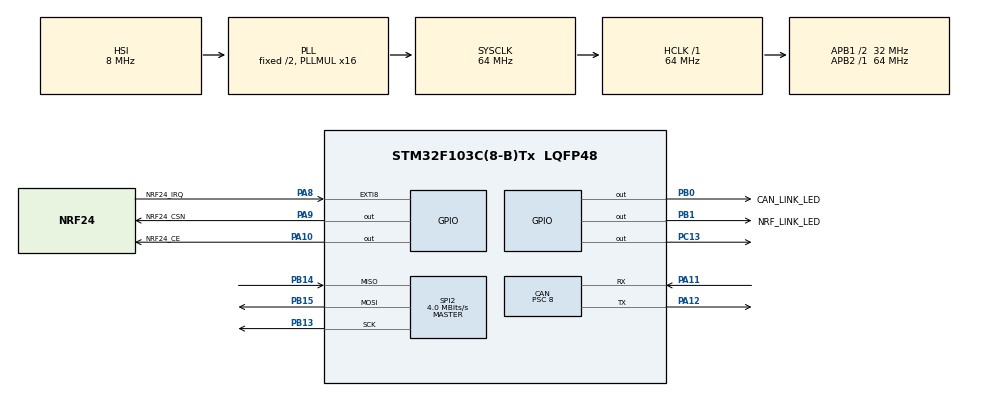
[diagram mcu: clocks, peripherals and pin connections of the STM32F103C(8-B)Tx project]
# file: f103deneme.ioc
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CAN.BS1=CAN_BS1_5TQ
CAN.BS2=CAN_BS2_2TQ
CAN.CalculateBaudRate=500000
CAN.CalculateTimeBit=2000
CAN.CalculateTimeQuantum=250.0
CAN.ABOM=ENABLE
CAN.NART=DISABLE
CAN.Prescaler=8
Mcu.Family=STM32F1
Mcu.Name=STM32F103C(8-B)Tx
Mcu.Package=LQFP48
NVIC.EXTI9_5_IRQn=true\:2\:0\:false\:false\:true\:true\:true\:true\:true
NVIC.PriorityGroup=NVIC_PRIORITYGROUP_4
PA8.GPIO_Label=NRF24_IRQ
PA8.GPIO_PuPd=GPIO_PULLUP
PA8.Signal=GPXTI8
PA9.GPIO_Label=NRF24_CSN
PA9.GPIO_Speed=GPIO_SPEED_FREQ_HIGH
PA9.PinState=GPIO_PIN_SET
PA9.Signal=GPIO_Output
PA10.GPIO_Label=NRF24_CE
PA10.GPIO_Speed=GPIO_SPEED_FREQ_HIGH
PA10.PinState=GPIO_PIN_RESET
PA10.Signal=GPIO_Output
PA11.Mode=CAN_Activate
PA11.Signal=CAN_RX
PA12.Mode=CAN_Activate
PA12.Signal=CAN_TX
PA13.Mode=Serial_Wire
PA13.Signal=SYS_JTMS-SWDIO
PA14.Mode=Serial_Wire
PA14.Signal=SYS_JTCK-SWCLK
PB0.GPIO_Label=CAN_LINK_LED
PB0.GPIO_Speed=GPIO_SPEED_FREQ_LOW
PB0.PinState=GPIO_PIN_SET
PB0.Signal=GPIO_Output
PB1.GPIO_Label=NRF_LINK_LED
PB1.GPIO_Speed=GPIO_SPEED_FREQ_LOW
PB1.Signal=GPIO_Output
PB13.Mode=Full_Duplex_Master
PB13.Signal=SPI2_SCK
PB14.Mode=Full_Duplex_Master
PB14.Signal=SPI2_MISO
PB15.Mode=Full_Duplex_Master
PB15.Signal=SPI2_MOSI
PC13-TAMPER-RTC.GPIO_Speed=GPIO_SPEED_FREQ_LOW
PC13-TAMPER-RTC.PinState=GPIO_PIN_SET
PC13-TAMPER-RTC.Signal=GPIO_Output
ProjectManager.HeapSize=0x200
ProjectManager.StackSize=0x400
ProjectManager.TargetToolchain=STM32CubeIDE
RCC.AHBFreq_Value=64000000
RCC.APB1CLKDivider=RCC_HCLK_DIV2
RCC.APB1Freq_Value=32000000
RCC.APB1TimFreq_Value=64000000
RCC.APB2Freq_Value=64000000
RCC.APB2TimFreq_Value=64000000
RCC.HCLKFreq_Value=64000000
RCC.PLLMUL=RCC_PLL_MUL16
RCC.SYSCLKFreq_VALUE=64000000
RCC.SYSCLKSource=RCC_SYSCLKSOURCE_PLLCLK
RCC.USBFreq_Value=64000000
SPI2.BaudRatePrescaler=SPI_BAUDRATEPRESCALER_8
SPI2.CalculateBaudRate=4.0 MBits/s
SPI2.Direction=SPI_DIRECTION_2LINES
SPI2.Mode=SPI_MODE_MASTER
SPI2.VirtualType=VM_MASTER
board=custom
NVIC.USB_LP_CAN1_RX0_IRQn=true\:1\:0\:false\:false\:true\:true\:true\:true\:true
NVIC.CAN1_SCE_IRQn=true\:1\:0\:false\:false\:true\:true\:true\:true\:true

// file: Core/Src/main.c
/* USER CODE BEGIN Header */
/**
  ******************************************************************************
  * @file           : main.c
  * @brief          : Main program body
  ******************************************************************************
  * @attention
  *
  * Copyright (c) 2026 STMicroelectronics.
  * All rights reserved.
  *
  * This software is licensed under terms that can be found in the LICENSE file
  * in the root directory of this software component.
  * If no LICENSE file comes with this software, it is provided AS-IS.
  *
  ******************************************************************************
  */
/* USER CODE END Header */
#include "main.h"

/* USER CODE BEGIN Includes */
#include "nrf24l01.h"
#include <string.h>

/* USER CODE END Includes */

/* USER CODE BEGIN PM */

#define COMMUNICATION_RX_TIMEOUT_MS 750
#define COMMUNICATION_RECOVERY_PERIOD_MS 1000
#define CAN1_RUNTIME_NOTIFICATIONS (CAN_IT_RX_FIFO0_MSG_PENDING | \
        CAN_IT_RX_FIFO0_FULL | CAN_IT_RX_FIFO0_OVERRUN | \
        CAN_IT_ERROR_WARNING | CAN_IT_ERROR_PASSIVE | CAN_IT_BUSOFF | \
        CAN_IT_LAST_ERROR_CODE | CAN_IT_ERROR)

/* USER CODE END PM */

CAN_HandleTypeDef hcan;
SPI_HandleTypeDef hspi2;

/* USER CODE BEGIN PV */
CAN_TxHeaderTypeDef TxHeader;
uint32_t TxMailbox;
volatile CAN_RxHeaderTypeDef g_can1_rx_header;
volatile uint8_t g_can1_rx_data[8];
volatile uint32_t g_can1_rx_count;
volatile uint32_t g_can1_rx_fifo_overrun_count;
volatile uint32_t g_can1_tx_ok_count;
volatile uint32_t g_can1_tx_error_count;
volatile HAL_StatusTypeDef g_can1_last_tx_status;
volatile uint32_t g_can1_led_toggle_count;
volatile uint8_t g_f103_nrf_rx_data[NRF24L01_MAX_PAYLOAD_SIZE];
volatile uint8_t g_f103_nrf_rx_length;
volatile uint32_t g_f103_nrf_rx_count;
volatile uint32_t g_f103_nrf_tx_count;
volatile uint32_t g_f103_nrf_tx_error_count;
volatile bool g_f103_nrf_initialized;
volatile uint32_t g_f103_can_rx_last_tick;
volatile uint32_t g_f103_nrf_rx_last_tick;
volatile uint32_t g_f103_can_recovery_attempt_count;
volatile uint32_t g_f103_can_recovery_success_count;
volatile uint32_t g_f103_can_recovery_failure_count;
volatile uint32_t g_f103_can_error_irq_count;
volatile uint32_t g_f103_can_last_error_code;
volatile uint32_t g_f103_can_last_esr;
volatile uint32_t g_f103_can_last_msr;
volatile bool g_f103_can_recovery_requested;
volatile bool g_f103_can_rx_timeout;
volatile bool g_f103_nrf_rx_timeout;
volatile uint8_t g_can1_response_pending;
/* USER CODE END PV */

void SystemClock_Config(void);
static void MX_GPIO_Init(void);
static void MX_CAN_Init(void);
static void MX_SPI2_Init(void);
/* USER CODE BEGIN PFP */
static HAL_StatusTypeDef CAN1_StartRuntime(void);
static bool CAN1_RecoverRuntime(void);
/* USER CODE END PFP */

/* USER CODE BEGIN 0 */

static HAL_StatusTypeDef CAN1_StartRuntime(void)
{
  CAN_FilterTypeDef can_filter = {0};
  can_filter.FilterBank = 0;
  can_filter.FilterMode = CAN_FILTERMODE_IDMASK;
  can_filter.FilterScale = CAN_FILTERSCALE_32BIT;
  can_filter.FilterIdHigh = 0;
  can_filter.FilterIdLow = 0;
  can_filter.FilterMaskIdHigh = 0;
  can_filter.FilterMaskIdLow = 0;
  can_filter.FilterFIFOAssignment = CAN_RX_FIFO0;
  can_filter.FilterActivation = ENABLE;
  can_filter.SlaveStartFilterBank = 14;

  if(HAL_CAN_ConfigFilter(&hcan, &can_filter) != HAL_OK) return HAL_ERROR;
  if(HAL_CAN_Start(&hcan) != HAL_OK) return HAL_ERROR;
  if(HAL_CAN_ActivateNotification(&hcan, CAN1_RUNTIME_NOTIFICATIONS) !=
          HAL_OK){
    (void)HAL_CAN_Stop(&hcan);
    return HAL_ERROR;
  }

  HAL_NVIC_SetPriority(USB_LP_CAN1_RX0_IRQn, 1, 0);
  HAL_NVIC_EnableIRQ(USB_LP_CAN1_RX0_IRQn);
  HAL_NVIC_SetPriority(CAN1_SCE_IRQn, 1, 0);
  HAL_NVIC_EnableIRQ(CAN1_SCE_IRQn);
  return HAL_OK;
}

static bool CAN1_RecoverRuntime(void)
{
  /* HAL state ERROR veya controller bus-off iken Stop/Start yeterli degildir.
   * DeInit handle'i RESET durumuna, RCC reset ise mailbox ve hata mantigini
   * donanimsal baslangic durumuna getirir. */
  (void)HAL_CAN_DeactivateNotification(&hcan, CAN1_RUNTIME_NOTIFICATIONS);
  (void)HAL_CAN_AbortTxRequest(&hcan,
          CAN_TX_MAILBOX0 | CAN_TX_MAILBOX1 | CAN_TX_MAILBOX2);
  (void)HAL_CAN_DeInit(&hcan);
  __HAL_RCC_CAN1_FORCE_RESET();
  __HAL_RCC_CAN1_RELEASE_RESET();
  HAL_Delay(2);

  if(HAL_CAN_Init(&hcan) != HAL_OK) return false;
  if(CAN1_StartRuntime() != HAL_OK) return false;

  g_can1_response_pending = 0;
  g_f103_can_recovery_requested = false;
  return true;
}

/* USER CODE END 0 */

int main(void)
{

  /* MCU Configuration--------------------------------------------------------*/

  /* Reset of all peripherals, Initializes the Flash interface and the Systick. */
  HAL_Init();

  /* Configure the system clock */
  SystemClock_Config();

  /* Initialize all configured peripherals */
  MX_GPIO_Init();
  MX_CAN_Init();
  MX_SPI2_Init();
  /* USER CODE BEGIN 2 */
  if (CAN1_StartRuntime() != HAL_OK)
  {
    Error_Handler();
  }

  TxHeader.StdId = 0x103; // Mesajımızın ID'si (F407 bu ID'yi okuyacak)
  TxHeader.ExtId = 0x01;  // Kullanmıyoruz ama sıfırlayalım
  TxHeader.IDE = CAN_ID_STD; // Standart ID kullanıyoruz (11-bit)
  TxHeader.RTR = CAN_RTR_DATA; // Remote frame değil, Data frame (Veri) gönderiyoruz
  TxHeader.TransmitGlobalTime = DISABLE;

  nrf24l01_config_t nrf_config = {
    .spi = &hspi2,
    .csn_port = NRF24_CSN_GPIO_Port,
    .csn_pin = NRF24_CSN_Pin,
    .ce_port = NRF24_CE_GPIO_Port,
    .ce_pin = NRF24_CE_Pin
  };
  g_f103_nrf_initialized = nrf24l01_init(&nrf_config);
  uint32_t communication_start_tick = HAL_GetTick();
  uint32_t last_can_recovery_tick = 0;
  uint32_t last_nrf_recovery_tick = 0;
  /* USER CODE END 2 */

  /* Infinite loop */
  while (1)
  {

    /* USER CODE BEGIN 3 */
      uint32_t now = HAL_GetTick();
      uint8_t can_response = g_can1_response_pending;
      if(can_response != 0){
        static const uint8_t high_message[] = "HIGH";
        static const uint8_t low_message[] = "LOW";
        const uint8_t* response;
        uint8_t response_length;
        g_can1_response_pending = 0;
        if(can_response == 1){
          response = low_message;
          response_length = sizeof(low_message) - 1;
        }
        else{
          response = high_message;
          response_length = sizeof(high_message) - 1;
        }
        TxHeader.StdId = 0x103;
        TxHeader.DLC = response_length;
        g_can1_last_tx_status = HAL_CAN_AddTxMessage(&hcan, &TxHeader,
                (uint8_t*)response, &TxMailbox);
        if(g_can1_last_tx_status == HAL_OK) g_can1_tx_ok_count++;
        else g_can1_tx_error_count++;
      }

      uint8_t nrf_response = 0;
      if(g_f103_nrf_initialized){
        /* IRQ falling-edge kacirilsa bile pin low kaldigi surece FIFO okunur. */
        if(g_nrf24l01_debug.irq_pending ||
                HAL_GPIO_ReadPin(NRF24_IRQ_GPIO_Port,
                        NRF24_IRQ_Pin) == GPIO_PIN_RESET){
          for(;;){
            uint8_t received[NRF24L01_MAX_PAYLOAD_SIZE] = {0};
            uint8_t received_length = 0;
            nrf24l01_status_t receive_status = nrf24l01_receive(received,
                    &received_length);
            if(receive_status != NRF24L01_OK) break;
            memcpy((void*)g_f103_nrf_rx_data, received, received_length);
            g_f103_nrf_rx_length = received_length;
            g_f103_nrf_rx_count++;
            if(received_length == 4 && memcmp(received, "HIGH", 4) == 0){
              HAL_GPIO_WritePin(NRF_LINK_LED_GPIO_Port, NRF_LINK_LED_Pin,
                      GPIO_PIN_SET);
              g_f103_nrf_rx_last_tick = HAL_GetTick();
              g_f103_nrf_rx_timeout = false;
              nrf_response = 1;
            }
            else if(received_length == 3 && memcmp(received, "LOW", 3) == 0){
              HAL_GPIO_WritePin(NRF_LINK_LED_GPIO_Port, NRF_LINK_LED_Pin,
                      GPIO_PIN_RESET);
              g_f103_nrf_rx_last_tick = HAL_GetTick();
              g_f103_nrf_rx_timeout = false;
              nrf_response = 2;
            }
          }
        }

        if(nrf_response != 0){
          static const uint8_t high_message[] = "HIGH";
          static const uint8_t low_message[] = "LOW";
          const uint8_t* response;
          uint8_t response_length;
          if(nrf_response == 1){
            response = low_message;
            response_length = sizeof(low_message) - 1;
          }
          else{
            response = high_message;
            response_length = sizeof(high_message) - 1;
          }
          /* F407'nin TX_DS interruptini isleyip tekrar RX moduna gecmesi icin
             kisa bir donus suresi birakilir. */
          HAL_Delay(5);
          nrf24l01_status_t send_status = nrf24l01_send(response,
                  response_length, 150);
          if(send_status == NRF24L01_OK) g_f103_nrf_tx_count++;
          else g_f103_nrf_tx_error_count++;
        }
      }

      uint32_t can_reference_tick = g_f103_can_rx_last_tick;
      if(can_reference_tick == 0) can_reference_tick = communication_start_tick;
      g_f103_can_rx_timeout = (now - can_reference_tick) >=
              COMMUNICATION_RX_TIMEOUT_MS;

      uint32_t nrf_reference_tick = g_f103_nrf_rx_last_tick;
      if(nrf_reference_tick == 0) nrf_reference_tick = communication_start_tick;
      g_f103_nrf_rx_timeout = (now - nrf_reference_tick) >=
              COMMUNICATION_RX_TIMEOUT_MS;

      if((g_f103_can_rx_timeout || g_f103_can_recovery_requested) &&
         (now - last_can_recovery_tick) >= COMMUNICATION_RECOVERY_PERIOD_MS){
        last_can_recovery_tick = now;
        g_f103_can_recovery_attempt_count++;
        if(CAN1_RecoverRuntime()){
          g_f103_can_recovery_success_count++;
        }else{
          g_f103_can_recovery_failure_count++;
        }
      }

      if(g_f103_nrf_rx_timeout &&
         (now - last_nrf_recovery_tick) >= COMMUNICATION_RECOVERY_PERIOD_MS){
        last_nrf_recovery_tick = now;
        g_f103_nrf_initialized = nrf24l01_init(&nrf_config);
      }

      HAL_Delay(2);
  }
  /* USER CODE END 3 */
}

void SystemClock_Config(void)
{
  RCC_OscInitTypeDef RCC_OscInitStruct = {0};
  RCC_ClkInitTypeDef RCC_ClkInitStruct = {0};

  /** Initializes the RCC Oscillators according to the specified parameters
  * in the RCC_OscInitTypeDef structure.
  */
  RCC_OscInitStruct.OscillatorType = RCC_OSCILLATORTYPE_HSI;
  RCC_OscInitStruct.HSIState = RCC_HSI_ON;
  RCC_OscInitStruct.HSICalibrationValue = RCC_HSICALIBRATION_DEFAULT;
  RCC_OscInitStruct.PLL.PLLState = RCC_PLL_ON;
  RCC_OscInitStruct.PLL.PLLSource = RCC_PLLSOURCE_HSI_DIV2;
  RCC_OscInitStruct.PLL.PLLMUL = RCC_PLL_MUL16;
  if (HAL_RCC_OscConfig(&RCC_OscInitStruct) != HAL_OK)
  {
    Error_Handler();
  }

  /** Initializes the CPU, AHB and APB buses clocks
  */
  RCC_ClkInitStruct.ClockType = RCC_CLOCKTYPE_HCLK|RCC_CLOCKTYPE_SYSCLK
                              |RCC_CLOCKTYPE_PCLK1|RCC_CLOCKTYPE_PCLK2;
  RCC_ClkInitStruct.SYSCLKSource = RCC_SYSCLKSOURCE_PLLCLK;
  RCC_ClkInitStruct.AHBCLKDivider = RCC_SYSCLK_DIV1;
  RCC_ClkInitStruct.APB1CLKDivider = RCC_HCLK_DIV2;
  RCC_ClkInitStruct.APB2CLKDivider = RCC_HCLK_DIV1;

  if (HAL_RCC_ClockConfig(&RCC_ClkInitStruct, FLASH_LATENCY_2) != HAL_OK)
  {
    Error_Handler();
  }
}

static void MX_CAN_Init(void)
{

  hcan.Instance = CAN1;
  hcan.Init.Prescaler = 8;
  hcan.Init.Mode = CAN_MODE_NORMAL;
  hcan.Init.SyncJumpWidth = CAN_SJW_1TQ;
  hcan.Init.TimeSeg1 = CAN_BS1_5TQ;
  hcan.Init.TimeSeg2 = CAN_BS2_2TQ;
  hcan.Init.TimeTriggeredMode = DISABLE;
  hcan.Init.AutoBusOff = ENABLE;
  hcan.Init.AutoWakeUp = DISABLE;
  hcan.Init.AutoRetransmission = ENABLE;
  hcan.Init.ReceiveFifoLocked = DISABLE;
  hcan.Init.TransmitFifoPriority = DISABLE;
  if (HAL_CAN_Init(&hcan) != HAL_OK)
  {
    Error_Handler();
  }

}

static void MX_SPI2_Init(void)
{
  hspi2.Instance = SPI2;
  hspi2.Init.Mode = SPI_MODE_MASTER;
  hspi2.Init.Direction = SPI_DIRECTION_2LINES;
  hspi2.Init.DataSize = SPI_DATASIZE_8BIT;
  hspi2.Init.CLKPolarity = SPI_POLARITY_LOW;
  hspi2.Init.CLKPhase = SPI_PHASE_1EDGE;
  hspi2.Init.NSS = SPI_NSS_SOFT;
  hspi2.Init.BaudRatePrescaler = SPI_BAUDRATEPRESCALER_8;
  hspi2.Init.FirstBit = SPI_FIRSTBIT_MSB;
  hspi2.Init.TIMode = SPI_TIMODE_DISABLE;
  hspi2.Init.CRCCalculation = SPI_CRCCALCULATION_DISABLE;
  hspi2.Init.CRCPolynomial = 10;
  if(HAL_SPI_Init(&hspi2) != HAL_OK)
  {
    Error_Handler();
  }
}

static void MX_GPIO_Init(void)
{
  GPIO_InitTypeDef GPIO_InitStruct = {0};

  /* GPIO Ports Clock Enable */
  __HAL_RCC_GPIOA_CLK_ENABLE();
  __HAL_RCC_GPIOB_CLK_ENABLE();
  __HAL_RCC_GPIOC_CLK_ENABLE();

  HAL_GPIO_WritePin(GPIOA, NRF24_CSN_Pin, GPIO_PIN_SET);
  HAL_GPIO_WritePin(GPIOA, NRF24_CE_Pin, GPIO_PIN_RESET);
  HAL_GPIO_WritePin(CAN_LINK_LED_GPIO_Port, CAN_LINK_LED_Pin, GPIO_PIN_SET);
  HAL_GPIO_WritePin(NRF_LINK_LED_GPIO_Port, NRF_LINK_LED_Pin, GPIO_PIN_RESET);
  HAL_GPIO_WritePin(GPIOC, GPIO_PIN_13, GPIO_PIN_SET);

  GPIO_InitStruct.Pin = NRF24_CSN_Pin|NRF24_CE_Pin;
  GPIO_InitStruct.Mode = GPIO_MODE_OUTPUT_PP;
  GPIO_InitStruct.Pull = GPIO_NOPULL;
  GPIO_InitStruct.Speed = GPIO_SPEED_FREQ_HIGH;
  HAL_GPIO_Init(GPIOA, &GPIO_InitStruct);

  GPIO_InitStruct.Pin = CAN_LINK_LED_Pin|NRF_LINK_LED_Pin;
  GPIO_InitStruct.Mode = GPIO_MODE_OUTPUT_PP;
  GPIO_InitStruct.Pull = GPIO_NOPULL;
  GPIO_InitStruct.Speed = GPIO_SPEED_FREQ_LOW;
  HAL_GPIO_Init(GPIOB, &GPIO_InitStruct);

  GPIO_InitStruct.Pin = NRF24_IRQ_Pin;
  GPIO_InitStruct.Mode = GPIO_MODE_IT_FALLING;
  GPIO_InitStruct.Pull = GPIO_PULLUP;
  HAL_GPIO_Init(NRF24_IRQ_GPIO_Port, &GPIO_InitStruct);

  GPIO_InitStruct.Pin = GPIO_PIN_13;
  GPIO_InitStruct.Mode = GPIO_MODE_OUTPUT_PP;
  GPIO_InitStruct.Pull = GPIO_NOPULL;
  GPIO_InitStruct.Speed = GPIO_SPEED_FREQ_LOW;
  HAL_GPIO_Init(GPIOC, &GPIO_InitStruct);

  HAL_NVIC_SetPriority(EXTI9_5_IRQn, 2, 0);
  HAL_NVIC_EnableIRQ(EXTI9_5_IRQn);

}

/* USER CODE BEGIN 4 */

void HAL_CAN_RxFifo0MsgPendingCallback(CAN_HandleTypeDef *can_handle)
{
  if (can_handle->Instance != CAN1)
  {
    return;
  }

  CAN_RxHeaderTypeDef rx_header;
  uint8_t rx_data[8];

  if (HAL_CAN_GetRxMessage(can_handle, CAN_RX_FIFO0, &rx_header, rx_data) != HAL_OK)
  {
    return;
  }

  g_can1_rx_header = rx_header;

  for (uint32_t index = 0; index < 8U; index++)
  {
    g_can1_rx_data[index] = rx_data[index];
  }

  g_can1_rx_count++;

  /* HIGH/LOW komutu idempotenttir: bir paket kaybolsa bile sonraki paket
     LED'i dogru faza getirir. ISR icinde yalnizca GPIO ve tani verisi
     guncellenir; recovery ana dongude yapilir. */
  if (rx_header.IDE == CAN_ID_STD && rx_header.StdId == 0x407)
  {
    if(rx_header.DLC == 4 && memcmp(rx_data, "HIGH", 4) == 0){
      HAL_GPIO_WritePin(CAN_LINK_LED_GPIO_Port, CAN_LINK_LED_Pin,
              GPIO_PIN_SET);
      g_f103_can_rx_last_tick = HAL_GetTick();
      g_f103_can_rx_timeout = false;
      g_can1_led_toggle_count++;
      g_can1_response_pending = 1;
    }
    else if(rx_header.DLC == 3 && memcmp(rx_data, "LOW", 3) == 0){
      HAL_GPIO_WritePin(CAN_LINK_LED_GPIO_Port, CAN_LINK_LED_Pin,
              GPIO_PIN_RESET);
      g_f103_can_rx_last_tick = HAL_GetTick();
      g_f103_can_rx_timeout = false;
      g_can1_led_toggle_count++;
      g_can1_response_pending = 2;
    }
  }
}

void HAL_CAN_RxFifo0FullCallback(CAN_HandleTypeDef *can_handle)
{
  if (can_handle->Instance == CAN1)
  {
    g_can1_rx_fifo_overrun_count++;
  }
}

void HAL_CAN_ErrorCallback(CAN_HandleTypeDef *can_handle)
{
  if(can_handle == NULL || can_handle->Instance != CAN1) return;

  g_f103_can_error_irq_count++;
  g_f103_can_last_error_code = HAL_CAN_GetError(can_handle);
  g_f103_can_last_esr = can_handle->Instance->ESR;
  g_f103_can_last_msr = can_handle->Instance->MSR;
  g_f103_can_recovery_requested = true;
}

void HAL_GPIO_EXTI_Callback(uint16_t GPIO_Pin)
{
  if(GPIO_Pin == NRF24_IRQ_Pin)
  {
    nrf24l01_irq_callback();
  }
}

/* USER CODE END 4 */

void Error_Handler(void)
{
  __disable_irq();
  while (1)
  {
  }
}
